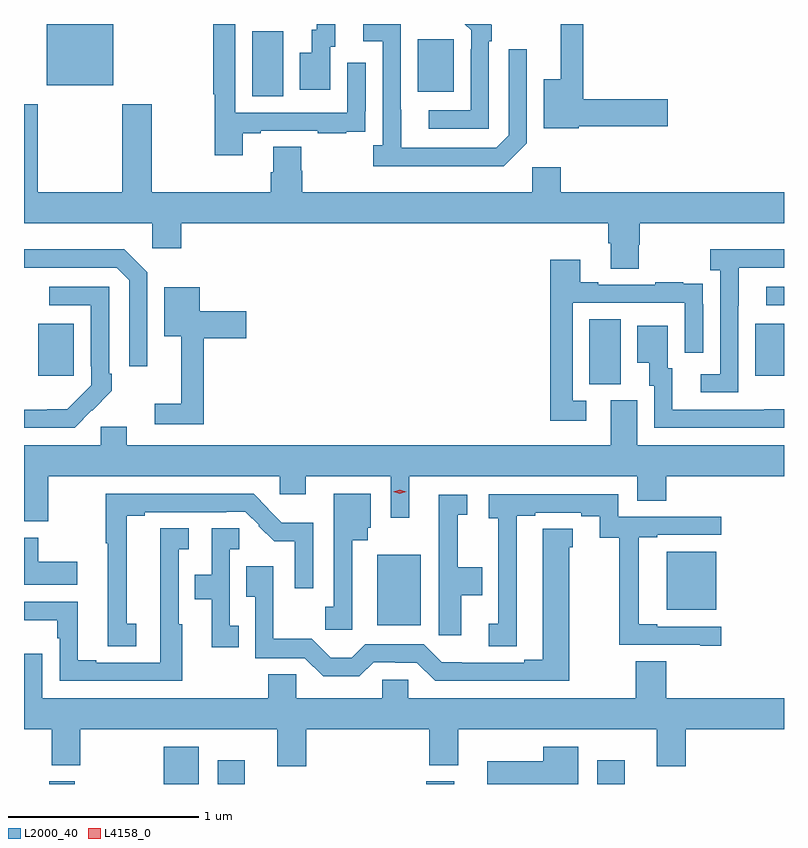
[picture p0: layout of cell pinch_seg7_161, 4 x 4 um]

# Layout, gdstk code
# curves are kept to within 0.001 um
import gdstk
lib = gdstk.Library(unit=1e-6, precision=1e-09)
def R(c, l, rs):  # rectangles x0, y0, x1, y1
    for r in rs: c.add(gdstk.rectangle(r[:2], r[2:], *l))
def P(c, l, *ps):  # polygons
    for p in ps: c.add(gdstk.Polygon(p, *l))
L2000_40 = (2000, 40)
L4158_0 = (4158, 0)

pinch_seg7_161 = lib.new_cell('pinch_seg7_161')
R(pinch_seg7_161, L2000_40, [(1080.002,1020.309,1080.136,1020.324), (1080.605,1020.309,1080.79,1020.505), (1080.89,1020.309,1081.033,1020.433), (1081.988,1020.309,1082.134,1020.324), (1082.888,1020.309,1083.031,1020.433), (1081.73,1021.145,1081.957,1021.516), (1083.254,1021.226,1083.514,1021.531), (1082.846,1022.413,1083.01,1022.756), (1079.945,1022.457,1080.133,1022.731), (1083.719,1022.457,1083.87,1022.731), (1083.777,1022.829,1083.87,1022.925), (1081.07,1023.928,1081.234,1024.272), (1081.943,1023.953,1082.131,1024.228), (1079.99,1023.986,1080.34,1024.309)])
P(pinch_seg7_161, L2000_40, [(1082.517,1023.681),(1082.517,1024.177),(1082.421,1024.177),(1082.421,1023.723),(1082.355,1023.657),(1081.855,1023.657),(1081.854,1024.309),(1081.656,1024.309),(1081.656,1024.218),(1081.758,1024.218),(1081.758,1023.67),(1081.707,1023.67),(1081.707,1023.56),(1082.396,1023.56)],
  [(1082.79,1023.772),(1083.259,1023.772),(1083.259,1023.914),(1082.813,1023.914),(1082.813,1024.309),(1082.696,1024.309),(1082.696,1024.018),(1082.606,1024.018),(1082.606,1023.761),(1082.79,1023.761)],
  [(1081.483,1024.188),(1081.507,1024.188),(1081.507,1024.309),(1081.41,1024.309),(1081.41,1024.278),(1081.385,1024.278),(1081.385,1024.159),(1081.322,1024.159),(1081.322,1023.963),(1081.483,1023.963)],
  [(1082.316,1024.217),(1082.331,1024.217),(1082.331,1024.305),(1082.327,1024.309),(1082.189,1024.309),(1082.223,1024.275),(1082.223,1024.175),(1082.22,1024.175),(1082.22,1023.855),(1082.001,1023.855),(1082.001,1023.759),(1082.316,1023.759)],
  [(1081.021,1023.735),(1081.117,1023.735),(1081.117,1023.747),(1081.417,1023.747),(1081.417,1023.735),(1081.565,1023.735),(1081.565,1023.741),(1081.667,1023.741),(1081.667,1023.85),(1081.668,1023.85),(1081.668,1024.105),(1081.572,1024.105),(1081.572,1023.843),(1080.981,1023.843),(1080.981,1024.309),(1080.865,1024.309),(1080.865,1023.94),(1080.873,1023.94),(1080.873,1023.618),(1081.021,1023.618)],
  [(1083.105,1023.147),(1083.11,1023.147),(1083.11,1023.26),(1083.87,1023.26),(1083.87,1023.424),(1082.696,1023.424),(1082.696,1023.556),(1082.544,1023.556),(1082.544,1023.424),(1081.334,1023.424),(1081.334,1023.537),(1081.329,1023.537),(1081.329,1023.662),(1081.181,1023.662),(1081.181,1023.53),(1081.169,1023.53),(1081.169,1023.424),(1080.543,1023.424),(1080.543,1023.886),(1080.388,1023.886),(1080.388,1023.424),(1079.943,1023.424),(1079.943,1023.886),(1079.87,1023.886),(1079.87,1023.26),(1080.546,1023.26),(1080.546,1023.129),(1080.698,1023.129),(1080.698,1023.26),(1082.945,1023.26),(1082.945,1023.154),(1082.957,1023.154),(1082.957,1023.022),(1083.105,1023.022)],
  [(1080.519,1023.003),(1080.398,1023.124),(1079.87,1023.124),(1079.87,1023.027),(1080.357,1023.027),(1080.423,1022.961),(1080.423,1022.508),(1080.519,1022.508)],
  [(1083.63,1022.827),(1083.631,1022.827),(1083.631,1023.027),(1083.87,1023.027),(1083.87,1023.124),(1083.483,1023.124),(1083.483,1023.014),(1083.534,1023.014),(1083.534,1022.466),(1083.432,1022.466),(1083.432,1022.37),(1083.63,1022.37)],
  [(1082.83,1022.325),(1082.757,1022.325),(1082.757,1022.841),(1083.348,1022.841),(1083.348,1022.58),(1083.444,1022.58),(1083.444,1022.834),(1083.443,1022.834),(1083.443,1022.943),(1083.341,1022.943),(1083.341,1022.95),(1083.193,1022.95),(1083.193,1022.937),(1082.893,1022.937),(1082.893,1022.95),(1082.797,1022.95),(1082.797,1023.067),(1082.641,1023.067),(1082.641,1022.22),(1082.83,1022.22)],
  [(1080.227,1022.275),(1080.228,1022.274),(1080.333,1022.379),(1080.333,1022.467),(1080.318,1022.467),(1080.318,1022.925),(1080.003,1022.925),(1080.003,1022.829),(1080.222,1022.829),(1080.222,1022.509),(1080.225,1022.509),(1080.225,1022.409),(1080.097,1022.281),(1079.87,1022.28),(1079.87,1022.184),(1080.136,1022.184)],
  [(1080.815,1022.654),(1081.039,1022.654),(1081.039,1022.796),(1080.796,1022.796),(1080.796,1022.923),(1080.608,1022.923),(1080.608,1022.666),(1080.698,1022.666),(1080.698,1022.311),(1080.558,1022.311),(1080.558,1022.202),(1080.815,1022.202)],
  [(1083.87,1022.281),(1083.767,1022.281),(1083.767,1022.28),(1083.283,1022.28),(1083.283,1022.496),(1083.259,1022.496),(1083.259,1022.722),(1083.098,1022.722),(1083.098,1022.525),(1083.161,1022.525),(1083.161,1022.406),(1083.186,1022.406),(1083.186,1022.184),(1083.87,1022.184)],
  [(1079.997,1021.928),(1081.215,1021.928),(1081.215,1021.833),(1081.354,1021.833),(1081.354,1021.928),(1081.8,1021.928),(1081.8,1021.71),(1081.897,1021.71),(1081.897,1021.928),(1083.098,1021.928),(1083.098,1021.801),(1083.251,1021.801),(1083.251,1021.928),(1083.87,1021.928),(1083.87,1022.092),(1083.097,1022.092),(1083.097,1022.328),(1082.957,1022.328),(1082.957,1022.092),(1080.412,1022.092),(1080.412,1022.19),(1080.273,1022.19),(1080.273,1022.092),(1079.87,1022.092),(1079.87,1021.691),(1079.997,1021.691)],
  [(1081.597,1021.592),(1081.678,1021.592),(1081.678,1021.659),(1081.696,1021.659),(1081.696,1021.837),(1081.5,1021.837),(1081.5,1021.241),(1081.455,1021.241),(1081.455,1021.122),(1081.597,1021.122)],
  [(1080.46,1021.152),(1080.41,1021.152),(1080.41,1021.72),(1080.505,1021.72),(1080.505,1021.74),(1080.935,1021.74),(1080.935,1021.743),(1081.035,1021.743),(1081.107,1021.671),(1081.104,1021.668),(1081.187,1021.586),(1081.296,1021.586),(1081.296,1021.338),(1081.392,1021.338),(1081.392,1021.684),(1081.227,1021.684),(1081.154,1021.757),(1081.156,1021.759),(1081.078,1021.836),(1080.3,1021.836),(1080.3,1021.576),(1080.311,1021.576),(1080.311,1021.033),(1080.46,1021.033)],
  [(1082.463,1021.141),(1082.464,1021.141),(1082.464,1021.722),(1082.56,1021.722),(1082.56,1021.737),(1082.804,1021.737),(1082.804,1021.719),(1082.9,1021.719),(1082.9,1021.604),(1083.004,1021.604),(1083.004,1021.041),(1083.428,1021.041),(1083.428,1021.036),(1083.541,1021.036),(1083.541,1021.137),(1083.202,1021.137),(1083.202,1021.15),(1083.106,1021.15),(1083.106,1021.608),(1083.202,1021.608),(1083.202,1021.62),(1083.541,1021.62),(1083.541,1021.716),(1082.997,1021.716),(1082.997,1021.833),(1082.316,1021.833),(1082.316,1021.709),(1082.367,1021.709),(1082.367,1021.152),(1082.316,1021.152),(1082.316,1021.033),(1082.463,1021.033)],
  [(1082.17,1021.303),(1082.282,1021.303),(1082.282,1021.45),(1082.153,1021.45),(1082.153,1021.725),(1082.203,1021.725),(1082.203,1021.831),(1082.054,1021.831),(1082.054,1021.092),(1082.17,1021.092)],
  [(1080.703,1021.149),(1080.684,1021.149),(1080.684,1021.544),(1080.736,1021.544),(1080.736,1021.655),(1080.587,1021.655),(1080.587,1021.249),(1080.588,1021.249),(1080.588,1020.948),(1080.25,1020.948),(1080.25,1020.961),(1080.154,1020.961),(1080.154,1021.269),(1079.87,1021.269),(1079.87,1021.172),(1080.045,1021.172),(1080.045,1021.076),(1080.057,1021.076),(1080.057,1020.852),(1080.703,1020.852)],
  [(1081.001,1021.142),(1080.954,1021.142),(1080.954,1021.544),(1081.003,1021.544),(1081.003,1021.655),(1080.858,1021.655),(1080.858,1021.411),(1080.769,1021.411),(1080.769,1021.282),(1080.857,1021.282),(1080.857,1021.029),(1081.001,1021.029)],
  [(1082.74,1021.554),(1082.758,1021.554),(1082.758,1021.652),(1082.601,1021.652),(1082.6,1020.963),(1082.504,1020.963),(1082.504,1020.948),(1082.069,1020.949),(1081.974,1021.044),(1081.665,1021.044),(1081.594,1020.973),(1081.484,1020.973),(1081.384,1021.073),(1081.182,1021.073),(1081.182,1021.456),(1081.039,1021.456),(1081.039,1021.295),(1081.086,1021.295),(1081.086,1020.972),(1081.347,1020.972),(1081.444,1020.875),(1081.634,1020.875),(1081.71,1020.951),(1081.823,1020.951),(1081.823,1020.948),(1081.938,1020.948),(1082.034,1020.852),(1082.74,1020.852)],
  [(1080.151,1021.48),(1079.944,1021.48),(1079.944,1021.606),(1079.87,1021.606),(1079.87,1021.358),(1080.151,1021.358)],
  [(1081.355,1020.596),(1082.003,1020.596),(1082.003,1020.409),(1082.155,1020.409),(1082.155,1020.596),(1083.2,1020.596),(1083.2,1020.402),(1083.353,1020.402),(1083.353,1020.596),(1083.87,1020.596),(1083.87,1020.76),(1083.251,1020.76),(1083.251,1020.956),(1083.091,1020.956),(1083.091,1020.76),(1081.893,1020.76),(1081.893,1020.858),(1081.755,1020.858),(1081.755,1020.76),(1081.302,1020.76),(1081.302,1020.887),(1081.156,1020.887),(1081.156,1020.76),(1079.967,1020.76),(1079.967,1020.994),(1079.87,1020.994),(1079.87,1020.596),(1080.017,1020.596),(1080.017,1020.409),(1080.165,1020.409),(1080.165,1020.596),(1081.202,1020.596),(1081.202,1020.402),(1081.355,1020.402)],
  [(1082.788,1020.505),(1082.603,1020.505),(1082.603,1020.43),(1082.307,1020.43),(1082.307,1020.309),(1082.788,1020.309)])
P(pinch_seg7_161, L4158_0, [(1081.848,1021.837),(1081.813,1021.846),(1081.812,1021.847),(1081.813,1021.847),(1081.848,1021.857),(1081.883,1021.847),(1081.883,1021.847),(1081.883,1021.846)])

lib.write_gds('pinch_seg7_161.gds')
